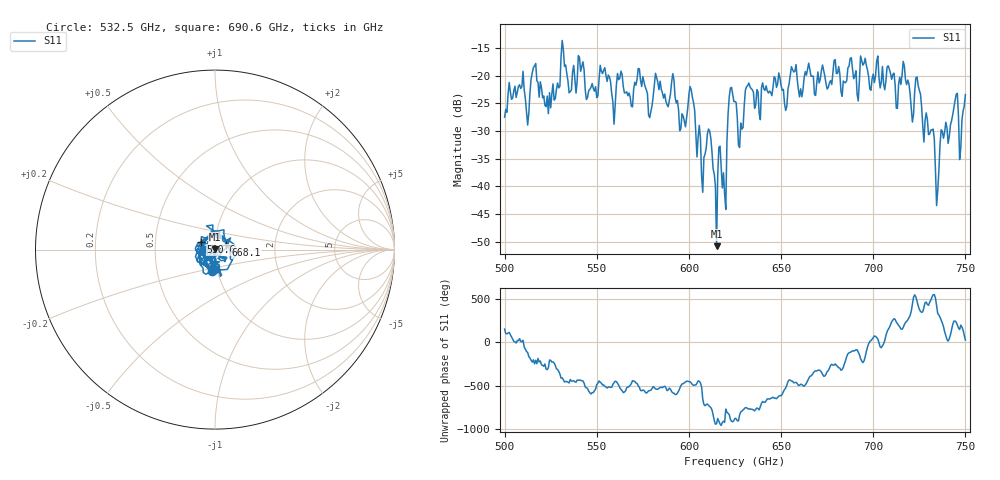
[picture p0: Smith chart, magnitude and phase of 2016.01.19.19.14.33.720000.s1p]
!Created with skrf (http://scikit-rf.org).
# GHz S RI R 50.0
!freq ReS11 ImS11
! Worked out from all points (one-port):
!   401 points, 500 GHz to 750 GHz, reference 50 ohm
!   lowest |S11| = -50.8 dB at 615 GHz (marker M1), VSWR 1.01, Z = 49.8 + j0.176 ohm
!   |S11| at or under -10 dB: start of sweep to end of sweep
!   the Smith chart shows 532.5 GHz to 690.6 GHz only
!   S11 on the Smith chart (normalised r, x): 532.5 GHz: 0.94, -0.23; 590.6 GHz: 0.85, +0.07; 668.1 GHz: 1.13, +0.06; 690.6 GHz: 0.98, -0.22
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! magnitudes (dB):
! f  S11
! 500 GHz  -27.5
! 512.5 GHz  -28.9
! 515.6 GHz  -18.5
! 523.8 GHz  -26.9
! 531.2 GHz  -13.6
! 532.5 GHz  -18.3
! 559.4 GHz  -28.8
! 562.5 GHz  -20.5
! 590.6 GHz  -21.1
! 593.8 GHz  -24.5
! 601.2 GHz  -22.5
! 607.5 GHz  -41.1
! 611.2 GHz  -30.0
! 615 GHz  -50.8
! 618.8 GHz  -37.5
! 622.5 GHz  -22.3
! 625 GHz  -24.6
! 628.1 GHz  -28.6
! 631.9 GHz  -21.8
! 656.2 GHz  -18.9
! 668.1 GHz  -23.4
! 687.5 GHz  -16.8
! 690.6 GHz  -19.1
! 718.8 GHz  -20.8
! 724.4 GHz  -21.8
! 735 GHz  -40.8
! 738.1 GHz  -31.3
! 750 GHz  -23.4
